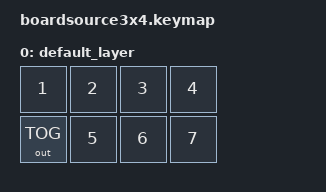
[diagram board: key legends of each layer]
#include <behaviors.dtsi>
#include <dt-bindings/zmk/keys.h>
#include <dt-bindings/zmk/outputs.h>
#include <dt-bindings/zmk/bt.h>

&kscan0 {
    compatible = "zmk,kscan-gpio-matrix";
    diode-direction = "row2col"; /* ปรับตามทิศทางขีดไดโอดจริงของคุณ */

    row-gpios
        = <&gpio0 6 GPIO_ACTIVE_HIGH>  /* แถวบน สายสีม่วง */
        , <&gpio0 8 GPIO_ACTIVE_HIGH>  /* แถวล่าง สายสีเขียว */
        ;

    col-gpios
        = <&gpio0 20 (GPIO_ACTIVE_HIGH | GPIO_PULL_DOWN)>  /* คอลัมน์ 1 สายสีน้ำเงิน */
        , <&gpio0 22 (GPIO_ACTIVE_HIGH | GPIO_PULL_DOWN)>  /* คอลัมน์ 2 สายสีเทา */
        , <&gpio0 24 (GPIO_ACTIVE_HIGH | GPIO_PULL_DOWN)>  /* คอลัมน์ 3 สายสีม่วง */
        , <&gpio1 0  (GPIO_ACTIVE_HIGH | GPIO_PULL_DOWN)>  /* คอลัมน์ 4 สายสีเหลือง */
        ;
};

/ {
    keymap {
        compatible = "zmk,keymap";

        default_layer {
            bindings = <
                &kp N1        &kp N2    &kp N3    &kp N4
                &out OUT_TOG  &kp N5    &kp N6    &kp N7
            >;
        };
    };
};
